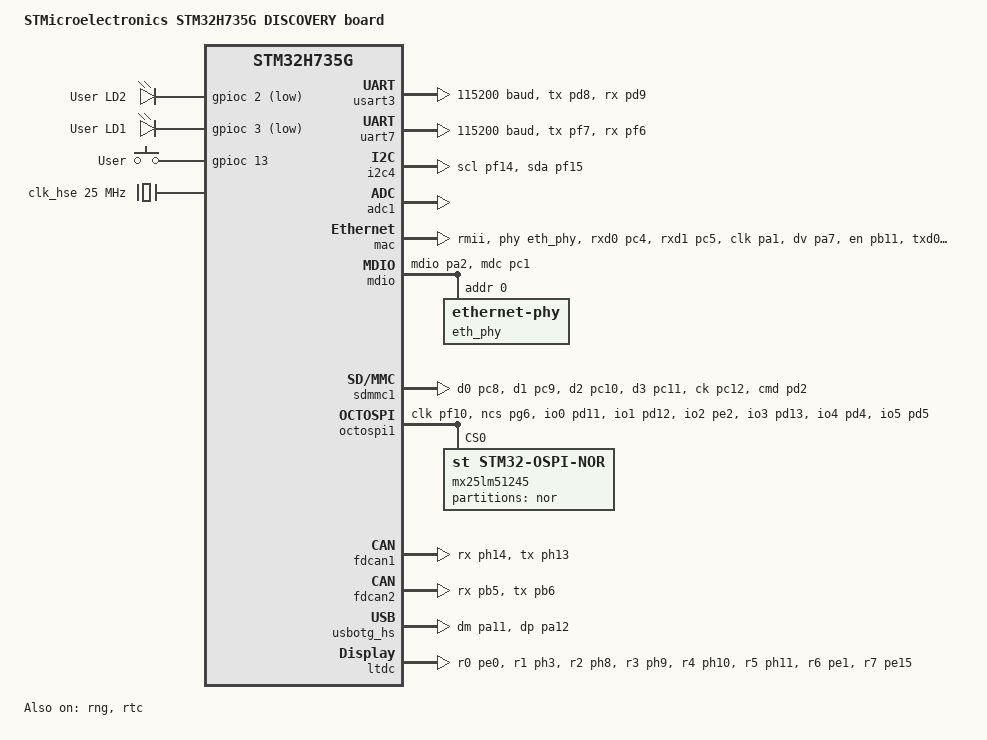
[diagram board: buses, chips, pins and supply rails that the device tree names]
/*
 * Copyright (c) 2021 SILA Embedded Solutions GmbH
 *
 * SPDX-License-Identifier: Apache-2.0
 */

/dts-v1/;
#include <st/h7/stm32h735Xg.dtsi>
#include <st/h7/stm32h735igkx-pinctrl.dtsi>
#include "pmod_connector.dtsi"
#include <zephyr/dt-bindings/input/input-event-codes.h>

/ {
	model = "STMicroelectronics STM32H735G DISCOVERY board";
	compatible = "st,stm32h735g-disco";

	chosen {
		zephyr,console = &usart3;
		zephyr,shell-uart = &usart3;
		zephyr,sram = &sram0;
		zephyr,flash = &flash0;
		zephyr,canbus = &fdcan1;
		zephyr,display = &ltdc;
	};

	leds {
		compatible = "gpio-leds";

		red_led: led_1 {
			gpios = <&gpioc 2 GPIO_ACTIVE_LOW>;
			label = "User LD2";
		};

		green_led: led_2 {
			gpios = <&gpioc 3 GPIO_ACTIVE_LOW>;
			label = "User LD1";
		};
	};

	gpio_keys {
		compatible = "gpio-keys";

		user_button: button {
			label = "User";
			gpios = <&gpioc 13 GPIO_ACTIVE_HIGH>;
			zephyr,code = <INPUT_KEY_0>;
		};
	};

	aliases {
		led0 = &red_led;
		led1 = &green_led;
		sw0 = &user_button;
		volt-sensor1 = &vbat;
	};
};

&clk_hse {
	clock-frequency = <DT_FREQ_M(25)>;
	status = "okay";
};

&clk_lse {
	status = "okay";
};

&clk_lsi {
	status = "okay";
};

&clk_hsi48 {
	status = "okay";
};

&pll {
	div-m = <5>;
	mul-n = <110>;
	div-p = <1>;
	div-q = <4>;
	div-r = <2>;
	clocks = <&clk_hse>;
	status = "okay";
};

&pll2 {
	div-m = <5>;
	mul-n = <80>;
	div-p = <5>;
	div-q = <5>;
	div-r = <5>;
	clocks = <&clk_hse>;
	status = "okay";
};

&rcc {
	clocks = <&pll>;
	clock-frequency = <DT_FREQ_M(550)>;
	d1cpre = <1>;
	hpre = <2>;
	d1ppre = <2>;
	d2ppre1 = <2>;
	d2ppre2 = <2>;
	d3ppre = <2>;
};

&pwr {
	power-supply = "smps-direct";
};

&usart3 {
	pinctrl-0 = <&usart3_tx_pd8 &usart3_rx_pd9>;
	pinctrl-names = "default";
	current-speed = <115200>;
	status = "okay";
};

&uart7 {
	pinctrl-0 = <&uart7_tx_pf7 &uart7_rx_pf6>;
	pinctrl-names = "default";
	current-speed = <115200>;
};

&i2c4 {
	pinctrl-0 = <&i2c4_scl_pf14 &i2c4_sda_pf15>;
	pinctrl-names = "default";
};

&rng {
	status = "okay";
};

&adc1 {
	pinctrl-0 = <&adc1_inp0_pa0_c>;
	pinctrl-names = "default";
	st,adc-clock-source = "SYNC";
	st,adc-prescaler = <4>;
	status = "okay";
};

&mac {
	pinctrl-0 = <&eth_rxd0_pc4
		     &eth_rxd1_pc5
		     &eth_ref_clk_pa1
		     &eth_crs_dv_pa7
		     &eth_tx_en_pb11
		     &eth_txd0_pb12
		     &eth_txd1_pb13>;
	pinctrl-names = "default";
	phy-connection-type = "rmii";
	phy-handle = <&eth_phy>;
	status = "okay";
};

&mdio {
	status = "okay";
	pinctrl-0 = <&eth_mdio_pa2 &eth_mdc_pc1>;
	pinctrl-names = "default";

	eth_phy: ethernet-phy@0 {
		compatible = "ethernet-phy";
		reg = <0x00>;
	};
};

&sdmmc1 {
	pinctrl-0 = <&sdmmc1_d0_pc8
		     &sdmmc1_d1_pc9
		     &sdmmc1_d2_pc10
		     &sdmmc1_d3_pc11
		     &sdmmc1_ck_pc12
		     &sdmmc1_cmd_pd2>;
	pinctrl-names = "default";
	cd-gpios = <&gpiof 5 GPIO_ACTIVE_LOW>;
	disk-name = "SD";
};

&octospi1 {
	pinctrl-0 = <&octospim_p1_clk_pf10 &octospim_p1_ncs_pg6
		     &octospim_p1_io0_pd11 &octospim_p1_io1_pd12
		     &octospim_p1_io2_pe2 &octospim_p1_io3_pd13
		     &octospim_p1_io4_pd4 &octospim_p1_io5_pd5
		     &octospim_p1_io6_pg9 &octospim_p1_io7_pd7
		     &octospim_p1_dqs_pb2>;
	pinctrl-names = "default";

	status = "okay";

	mx25lm51245: ospi-nor-flash@0 {
		compatible = "st,stm32-ospi-nor";
		reg = <0>;
		size = <DT_SIZE_M(512)>; /* 512 Megabits */
		ospi-max-frequency = <DT_FREQ_M(50)>;
		spi-bus-width = <OSPI_OPI_MODE>;
		data-rate = <OSPI_DTR_TRANSFER>;
		status = "okay";

		partitions {
			compatible = "fixed-partitions";
			#address-cells = <1>;
			#size-cells = <1>;

			partition@0 {
				label = "nor";
				reg = <0x00000000 DT_SIZE_M(4)>;
			};
		};
	};
};

&rtc {
	clocks = <&rcc STM32_CLOCK(APB4, 16)>,
		 <&rcc STM32_SRC_LSI RTC_SEL(2)>;
	status = "okay";

	backup_regs {
		status = "okay";
	};
};

&fdcan1 {
	pinctrl-0 = <&fdcan1_rx_ph14 &fdcan1_tx_ph13>;
	pinctrl-names = "default";
	clocks = <&rcc STM32_CLOCK(APB1_2, 8)>,
		 <&rcc STM32_SRC_PLL2_Q FDCAN_SEL(2)>;
	status = "okay";

	can-transceiver {
		max-bitrate = <8000000>;
	};
};

&fdcan2 {
	pinctrl-0 = <&fdcan2_rx_pb5 &fdcan2_tx_pb6>;
	pinctrl-names = "default";
	clocks = <&rcc STM32_CLOCK(APB1_2, 8)>,
		 <&rcc STM32_SRC_PLL2_Q FDCAN_SEL(2)>;
	status = "okay";

	can-transceiver {
		max-bitrate = <8000000>;
	};
};

&fdcan3 {
	pinctrl-0 = <&fdcan3_rx_pf6 &fdcan3_tx_pf7>;
	pinctrl-names = "default";
	clocks = <&rcc STM32_CLOCK(APB1_2, 8)>,
		 <&rcc STM32_SRC_PLL2_Q FDCAN_SEL(2)>;
	/* Solder bridges SB29 and SB30 need to be closed for this to work */
	status = "disabled";

	can-transceiver {
		max-bitrate = <8000000>;
	};
};

zephyr_udc0: &usbotg_hs {
	status = "okay";
	pinctrl-0 = <&usb_otg_hs_dm_pa11 &usb_otg_hs_dp_pa12>;
	pinctrl-names = "default";
};

&ltdc {
	pinctrl-0 = <&ltdc_r0_pe0 &ltdc_r1_ph3 &ltdc_r2_ph8 &ltdc_r3_ph9
		     &ltdc_r4_ph10 &ltdc_r5_ph11 &ltdc_r6_pe1 &ltdc_r7_pe15
		     &ltdc_g0_pb1 &ltdc_g1_pb0 &ltdc_g2_pa6 &ltdc_g3_pe11
		     &ltdc_g4_ph15 &ltdc_g5_ph4 &ltdc_g6_pc7 &ltdc_g7_pd3
		     &ltdc_b0_pg14 &ltdc_b1_pd0 &ltdc_b2_pd6 &ltdc_b3_pa8
		     &ltdc_b4_pe12 &ltdc_b5_pa3 &ltdc_b6_pb8 &ltdc_b7_pb9
		     &ltdc_de_pe13 &ltdc_clk_pg7 &ltdc_hsync_pc6 &ltdc_vsync_pa4>;
	pinctrl-names = "default";
	disp-on-gpios = <&gpiod 10 GPIO_ACTIVE_HIGH>;
	bl-ctrl-gpios = <&gpiog 15 GPIO_ACTIVE_HIGH>;
	/*ext-sdram = <&psram>;*/
	status = "okay";

	width = <480>;
	height = <272>;
	pixel-format = <PANEL_PIXEL_FORMAT_RGB_888>;

	display-timings {
		compatible = "zephyr,panel-timing";
		de-active = <0>;
		pixelclk-active = <0>;
		hsync-active = <0>;
		vsync-active = <0>;
		hsync-len = <1>;
		vsync-len = <10>;
		hback-porch = <43>;
		vback-porch = <12>;
		hfront-porch = <8>;
		vfront-porch = <4>;
	};

	def-back-color-red = <0xff>;
	def-back-color-green = <0xff>;
	def-back-color-blue = <0xff>;
};
